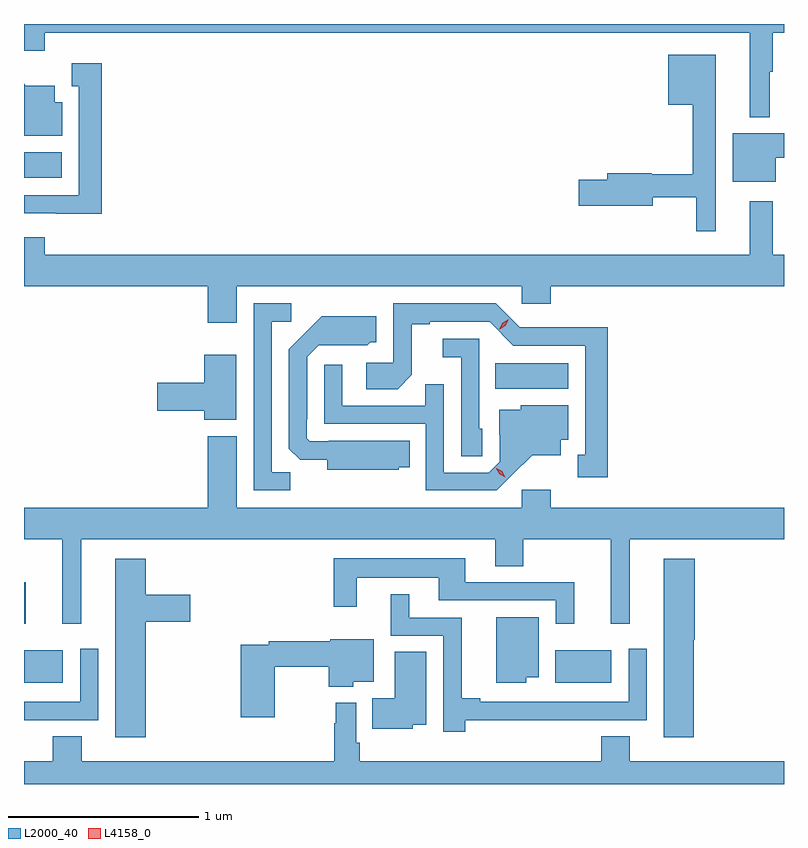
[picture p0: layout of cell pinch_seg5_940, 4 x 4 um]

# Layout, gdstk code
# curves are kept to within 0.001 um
import gdstk
lib = gdstk.Library(unit=1e-6, precision=1e-09)
def R(c, l, rs):  # rectangles x0, y0, x1, y1
    for r in rs: c.add(gdstk.rectangle(r[:2], r[2:], *l))
def P(c, l, *ps):  # polygons
    for p in ps: c.add(gdstk.Polygon(p, *l))
L2000_40 = (2000, 40)
L4158_0 = (4158, 0)

pinch_seg5_940 = lib.new_cell('pinch_seg5_940')
R(pinch_seg5_940, L2000_40, [(699.655,910.616,699.859,910.786), (702.452,910.616,702.745,910.786), (699.655,910.926,699.665,911.145), (702.136,912.164,702.52,912.298), (699.655,913.274,699.853,913.408)])
P(pinch_seg5_940, L2000_40, [(699.655,913.941),(699.764,913.941),(699.764,914.036),(703.475,914.036),(703.475,913.592),(703.579,913.592),(703.579,913.831),(703.597,913.831),(703.597,914.036),(703.655,914.036),(703.655,914.083),(699.655,914.083)],
  [(703.297,913.921),(703.046,913.921),(703.046,913.658),(703.176,913.658),(703.176,913.291),(702.96,913.291),(702.96,913.298),(702.725,913.298),(702.725,913.262),(702.576,913.262),(702.576,913.127),(702.964,913.127),(702.964,913.17),(703.193,913.17),(703.193,912.993),(703.297,912.993)],
  [(700.063,913.876),(699.905,913.876),(699.905,913.755),(699.944,913.755),(699.944,913.182),(699.655,913.182),(699.655,913.086),(699.822,913.086),(699.822,913.085),(700.063,913.085)],
  [(699.856,913.672),(699.817,913.672),(699.817,913.759),(699.665,913.759),(699.655,913.769),(699.655,913.496),(699.856,913.496)],
  [(703.612,913.379),(703.655,913.379),(703.655,913.507),(703.385,913.507),(703.385,913.253),(703.612,913.253)],
  [(700.774,912.704),(702.276,912.704),(702.276,912.611),(702.428,912.611),(702.428,912.704),(703.655,912.704),(703.655,912.868),(703.597,912.868),(703.597,913.15),(703.475,913.15),(703.475,912.868),(699.764,912.868),(699.764,912.961),(699.655,912.961),(699.655,912.704),(700.622,912.704),(700.622,912.51),(700.774,912.51)],
  [(702.727,912.488),(702.486,912.488),(702.486,912.486),(702.264,912.486),(702.138,912.612),(701.598,912.612),(701.598,912.3),(701.457,912.3),(701.457,912.16),(701.621,912.16),(701.697,912.236),(701.697,912.504),(701.791,912.504),(701.791,912.516),(702.105,912.516),(702.231,912.39),(702.608,912.39),(702.608,911.817),(702.569,911.817),(702.569,911.697),(702.727,911.697)],
  [(701.055,911.723),(700.959,911.723),(700.959,912.516),(701.062,912.516),(701.062,912.612),(700.863,912.612),(700.863,911.628),(701.055,911.628)],
  [(701.628,911.75),(701.684,911.75),(701.684,911.89),(701.26,911.89),(701.26,911.886),(701.16,911.886),(701.142,911.904),(701.142,912.004),(701.145,912.004),(701.145,912.333),(701.205,912.393),(701.462,912.392),(701.478,912.408),(701.509,912.408),(701.509,912.544),(701.221,912.544),(701.049,912.37),(701.049,911.848),(701.108,911.789),(701.252,911.789),(701.252,911.738),(701.628,911.738)],
  [(702.066,911.952),(702.051,911.952),(702.051,912.426),(701.859,912.426),(701.859,912.329),(701.955,912.329),(701.955,911.809),(702.066,911.809)],
  [(700.771,912.343),(700.604,912.343),(700.604,912.194),(700.356,912.194),(700.356,912.047),(700.604,912.047),(700.604,911.999),(700.771,911.999)],
  [(702.226,911.711),(702.329,911.813),(702.481,911.813),(702.481,911.894),(702.52,911.894),(702.52,912.076),(702.27,912.076),(702.27,912.052),(702.155,912.052),(702.155,911.92),(702.159,911.92),(702.159,911.778),(702.102,911.721),(701.865,911.721),(701.865,912.188),(701.767,912.188),(701.767,912.075),(701.331,912.075),(701.331,912.289),(701.235,912.289),(701.235,911.979),(701.769,911.979),(701.769,911.628),(702.142,911.628)],
  [(699.956,911.372),(702.134,911.372),(702.134,911.23),(702.282,911.23),(702.282,911.372),(702.743,911.372),(702.743,910.926),(702.842,910.926),(702.842,911.372),(703.655,911.372),(703.655,911.536),(702.428,911.536),(702.428,911.632),(702.276,911.632),(702.276,911.536),(700.774,911.536),(700.774,911.914),(700.622,911.914),(700.622,911.536),(699.655,911.536),(699.655,911.372),(699.857,911.372),(699.857,910.926),(699.956,910.926)],
  [(702.551,911.145),(701.977,911.145),(701.977,911.272),(701.286,911.272),(701.286,911.016),(701.407,911.016),(701.407,911.168),(701.837,911.168),(701.837,911.049),(702.453,911.049),(702.453,910.926),(702.551,910.926)],
  [(703.181,910.842),(703.186,910.842),(703.186,911.269),(703.022,911.269),(703.022,910.329),(703.181,910.329)],
  [(700.295,910.937),(700.531,910.937),(700.531,911.079),(700.295,911.079),(700.295,911.269),(700.136,911.269),(700.136,910.329),(700.295,910.329)],
  [(701.978,910.418),(702.608,910.418),(702.608,910.419),(702.933,910.419),(702.933,910.795),(702.837,910.795),(702.837,910.515),(702.055,910.515),(702.055,910.535),(701.96,910.535),(701.96,910.959),(701.683,910.959),(701.683,911.083),(701.585,911.083),(701.585,910.863),(701.862,910.863),(701.862,910.359),(701.978,910.359)],
  [(702.298,910.646),(702.364,910.646),(702.364,910.96),(702.14,910.96),(702.14,910.616),(702.298,910.616)],
  [(700.974,910.699),(701.26,910.699),(701.26,910.595),(701.388,910.595),(701.388,910.622),(701.497,910.622),(701.497,910.846),(701.267,910.846),(701.267,910.835),(700.942,910.835),(700.942,910.815),(700.796,910.815),(700.796,910.434),(700.974,910.434)],
  [(699.722,910.419),(700.047,910.419),(700.047,910.795),(699.951,910.795),(699.951,910.515),(699.655,910.515),(699.655,910.418),(699.722,910.418)],
  [(701.7,910.394),(701.773,910.394),(701.773,910.778),(701.606,910.778),(701.606,910.534),(701.488,910.534),(701.488,910.373),(701.7,910.373)],
  [(703.655,910.204),(702.844,910.204),(702.844,910.334),(702.692,910.334),(702.692,910.204),(701.423,910.204),(701.423,910.3),(701.403,910.3),(701.403,910.51),(701.295,910.51),(701.295,910.403),(701.287,910.403),(701.287,910.204),(699.958,910.204),(699.958,910.334),(699.806,910.334),(699.806,910.204),(699.655,910.204),(699.655,910.083),(703.655,910.083)])
P(pinch_seg5_940, L4158_0, [(702.157,912.477),(702.157,912.477),(702.175,912.51),(702.207,912.528),(702.207,912.528),(702.207,912.528),(702.189,912.496),(702.158,912.477)],
  [(702.189,911.698),(702.158,911.714),(702.141,911.743),(702.141,911.744),(702.141,911.744),(702.172,911.728),(702.189,911.698),(702.189,911.698)])

lib.write_gds('pinch_seg5_940.gds')
